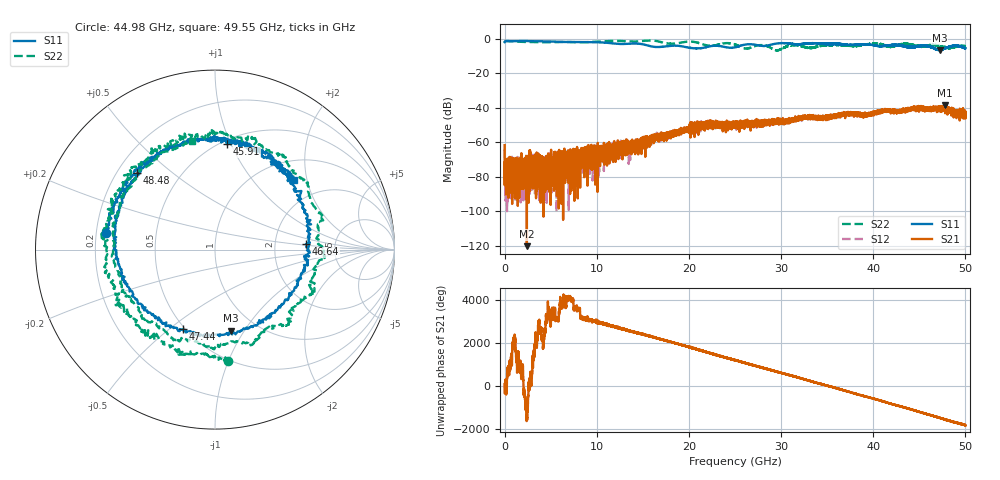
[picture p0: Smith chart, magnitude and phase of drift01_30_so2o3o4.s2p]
!Created with skrf (http://scikit-rf.org).
# Hz S RI R 50.0
!freq ReS11 ImS11 ReS21 ImS21 ReS12 ImS12 ReS22 ImS22
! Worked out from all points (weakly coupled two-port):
!   10001 points, 300 kHz to 50 GHz, reference 50 ohm
!   highest |S21| = -38.41 dB at 47.77 GHz (marker M1); lowest = -120.2 dB at 2.415 GHz (marker M2)
!   lowest |S11| = -6.7 dB at 47.21 GHz (marker M3), VSWR 2.71, Z = 38.2 - j43.8 ohm
!   |S11| at or under -10 dB: nowhere
!   |S22| runs from -6.8 to -1.0 dB; largest |S21 - S12| = 0.0041
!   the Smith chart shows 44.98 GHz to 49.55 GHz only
!   S11 on the Smith chart (normalised r, x): 44.98 GHz: 0.24, +0.07; 45.91 GHz: 0.54, +0.97; 46.64 GHz: 3.04, +0.24; 47.44 GHz: 0.49, -0.56; 48.48 GHz: 0.28, +0.38; 49.55 GHz: 1.41, +1.66
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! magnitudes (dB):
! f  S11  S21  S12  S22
! 300 kHz  -2.1  -61.7  -64.0  -1.3
! 260.3 MHz  -1.4  -78.3  -99.9  -1.4
! 2.415 GHz  -1.4  -120.2  -81.1  -1.9
! 5.88 GHz  -1.8  -98.4  -74.7  -2.0
! 8.335 GHz  -1.9  -67.0  -66.0  -2.1
! 16.67 GHz  -4.8  -56.9  -56.3  -1.6
! 22.02 GHz  -4.7  -50.8  -49.8  -4.1
! 25 GHz  -5.0  -50.3  -50.6  -3.4
! 28.13 GHz  -4.3  -48.4  -48.0  -3.9
! 29.52 GHz  -2.8  -48.9  -48.7  -6.7
! 31.29 GHz  -3.1  -47.3  -47.6  -4.0
! 33.34 GHz  -2.6  -45.3  -45.1  -5.5
! 41.67 GHz  -3.9  -41.0  -41.4  -4.5
! 44.98 GHz  -4.2  -40.0  -39.9  -4.1
! 45.91 GHz  -4.6  -40.9  -40.4  -4.2
! 46.64 GHz  -5.9  -40.3  -40.4  -3.7
! 47.21 GHz  -6.7  -40.4  -40.5  -4.5
! 47.44 GHz  -6.4  -41.3  -41.0  -4.3
! 47.77 GHz  -5.5  -38.4  -41.0  -4.7
! 48.48 GHz  -4.3  -44.6  -42.2  -5.3
! 49.55 GHz  -4.7  -44.9  -43.9  -4.2
! 50 GHz  -5.6  -44.0  -43.9  -4.3
